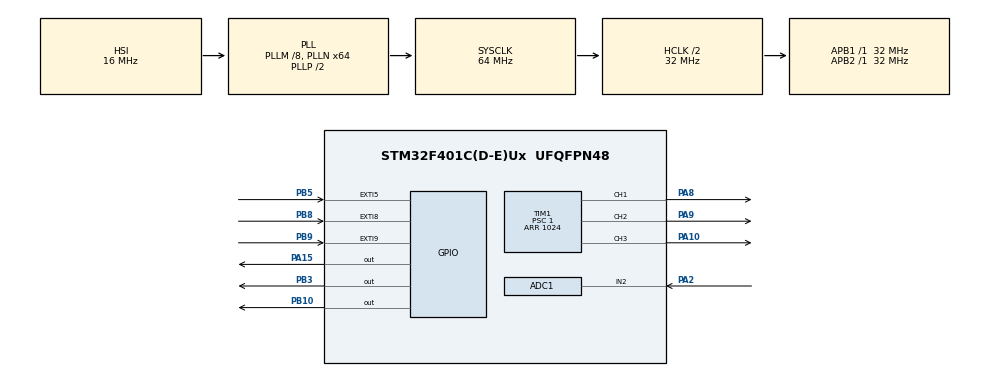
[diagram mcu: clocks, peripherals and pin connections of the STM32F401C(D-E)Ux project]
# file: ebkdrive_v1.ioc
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ADC1.Channel-6\#ChannelRegularConversion=ADC_CHANNEL_2
ADC1.ContinuousConvMode=ENABLE
ADC1.DMAContinuousRequests=ENABLE
ADC1.NbrOfConversionFlag=1
ADC1.Rank-6\#ChannelRegularConversion=1
ADC1.Resolution=ADC_RESOLUTION_12B
ADC1.SamplingTime-6\#ChannelRegularConversion=ADC_SAMPLETIME_480CYCLES
ADC1.master=1
Dma.ADC1.0.Direction=DMA_PERIPH_TO_MEMORY
Dma.ADC1.0.FIFOMode=DMA_FIFOMODE_DISABLE
Dma.ADC1.0.Instance=DMA2_Stream0
Dma.ADC1.0.MemDataAlignment=DMA_MDATAALIGN_HALFWORD
Dma.ADC1.0.MemInc=DMA_MINC_ENABLE
Dma.ADC1.0.Mode=DMA_CIRCULAR
Dma.ADC1.0.PeriphDataAlignment=DMA_PDATAALIGN_HALFWORD
Dma.ADC1.0.PeriphInc=DMA_PINC_DISABLE
Dma.ADC1.0.Priority=DMA_PRIORITY_LOW
Dma.Request0=ADC1
Mcu.Family=STM32F4
Mcu.Name=STM32F401C(D-E)Ux
Mcu.Package=UFQFPN48
NVIC.ADC_IRQn=true\:1\:0\:true\:false\:true\:true\:true\:true
NVIC.DMA2_Stream0_IRQn=true\:1\:0\:true\:false\:true\:true\:true\:true
NVIC.EXTI9_5_IRQn=true\:0\:0\:false\:false\:true\:true\:true\:true
NVIC.PriorityGroup=NVIC_PRIORITYGROUP_4
PA10.Signal=S_TIM1_CH3
PA13.Mode=Serial_Wire
PA13.Signal=SYS_JTMS-SWDIO
PA14.Mode=Serial_Wire
PA14.Signal=SYS_JTCK-SWCLK
PA15.Signal=GPIO_Output
PA2.Signal=ADCx_IN2
PA3.Signal=ADCx_IN3
PA8.Signal=S_TIM1_CH1
PA9.Signal=S_TIM1_CH2
PB10.Signal=GPIO_Output
PB3.Signal=GPIO_Output
PB5.GPIO_ModeDefaultEXTI=GPIO_MODE_IT_RISING_FALLING
PB5.Signal=GPXTI5
PB8.GPIO_ModeDefaultEXTI=GPIO_MODE_IT_RISING_FALLING
PB8.Signal=GPXTI8
PB9.GPIO_ModeDefaultEXTI=GPIO_MODE_IT_RISING_FALLING
PB9.Signal=GPXTI9
ProjectManager.HeapSize=0x200
ProjectManager.StackSize=0x400
ProjectManager.TargetToolchain=STM32CubeIDE
RCC.48MHZClocksFreq_Value=32000000
RCC.AHBCLKDivider=RCC_SYSCLK_DIV2
RCC.AHBFreq_Value=32000000
RCC.APB1Freq_Value=32000000
RCC.APB1TimFreq_Value=32000000
RCC.APB2Freq_Value=32000000
RCC.APB2TimFreq_Value=32000000
RCC.CortexFreq_Value=32000000
RCC.HCLKFreq_Value=32000000
RCC.HSE_VALUE=25000000
RCC.HSI_VALUE=16000000
RCC.LSE_VALUE=32768
RCC.PLLM=8
RCC.PLLN=64
RCC.SYSCLKFreq_VALUE=64000000
RCC.SYSCLKSource=RCC_SYSCLKSOURCE_PLLCLK
RCC.VCOOutputFreq_Value=128000000
SH.ADCx_IN2.0=ADC1_IN2,IN2
SH.ADCx_IN3.0=ADC1_IN3
SH.S_TIM1_CH1.0=TIM1_CH1,PWM Generation1 CH1
SH.S_TIM1_CH2.0=TIM1_CH2,PWM Generation2 CH2
SH.S_TIM1_CH3.0=TIM1_CH3,PWM Generation3 CH3
TIM1.AutoReloadPreload=TIM_AUTORELOAD_PRELOAD_DISABLE
TIM1.Channel-PWM\ Generation1\ CH1=TIM_CHANNEL_1
TIM1.Channel-PWM\ Generation2\ CH2=TIM_CHANNEL_2
TIM1.Channel-PWM\ Generation3\ CH3=TIM_CHANNEL_3
TIM1.Period=1024
TIM1.Prescaler=1
TIM1.TIM_MasterSlaveMode=TIM_MASTERSLAVEMODE_DISABLE
VP_TIM1_VS_ClockSourceINT.Mode=Internal
VP_TIM3_VS_ClockSourceINT.Mode=Internal
board=custom

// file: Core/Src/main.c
/* USER CODE BEGIN Header */
/**
  ******************************************************************************
  * @file           : main.c
  * @brief          : Main program body
  ******************************************************************************
  * @attention
  *
  * Copyright (c) 2024 STMicroelectronics.
  * All rights reserved.
  *
  * This software is licensed under terms that can be found in the LICENSE file
  * in the root directory of this software component.
  * If no LICENSE file comes with this software, it is provided AS-IS.
  *
  ******************************************************************************
  */
/* USER CODE END Header */
#include "main.h"

/* USER CODE BEGIN PD */
#define halla GPIO_PIN_8
#define hallb GPIO_PIN_9
#define hallc GPIO_PIN_5
/* USER CODE END PD */

ADC_HandleTypeDef hadc1;
DMA_HandleTypeDef hdma_adc1;

TIM_HandleTypeDef htim1;
TIM_HandleTypeDef htim3;

/* USER CODE BEGIN PV */
   uint8_t hallSensorState = 0b00000000;
   uint32_t buffer=0;
   uint32_t adc_val=0;
/* USER CODE END PV */

void SystemClock_Config(void);
static void MX_GPIO_Init(void);
static void MX_DMA_Init(void);
static void MX_TIM1_Init(void);
static void MX_TIM3_Init(void);
static void MX_ADC1_Init(void);

/* USER CODE BEGIN 0 */
void HAL_ADC_ConvCpltCallback(ADC_HandleTypeDef* hadc)
{
	if(buffer>50)
	{adc_val=buffer/4;}
    else
	adc_val=0;
}

void HAL_GPIO_EXTI_Callback(uint16_t GPIO_Pin)
{
	hallSensorState = 0;
    hallSensorState |= HAL_GPIO_ReadPin(GPIOB, GPIO_PIN_8) << 0;
    hallSensorState |= HAL_GPIO_ReadPin(GPIOB, GPIO_PIN_9) << 1;
    hallSensorState |= HAL_GPIO_ReadPin(GPIOB, GPIO_PIN_5) << 2;
}

void delay_us (uint16_t us)
{
	__HAL_TIM_SET_COUNTER(&htim3,0);  // set the counter value a 0
	while (__HAL_TIM_GET_COUNTER(&htim3) < us);  // wait for the counter to reach the us input in the parameter
}
/* USER CODE END 0 */

int main(void)
{

  /* MCU Configuration--------------------------------------------------------*/

  /* Reset of all peripherals, Initializes the Flash interface and the Systick. */
  HAL_Init();

  /* Configure the system clock */
  SystemClock_Config();

  /* Initialize all configured peripherals */
  MX_GPIO_Init();
  MX_DMA_Init();
  MX_TIM1_Init();
  MX_TIM3_Init();
  MX_ADC1_Init();
  /* USER CODE BEGIN 2 */

  HAL_TIM_PWM_Start(&htim1, TIM_CHANNEL_1);
  HAL_TIM_PWM_Start(&htim1, TIM_CHANNEL_2);
  HAL_TIM_PWM_Start(&htim1, TIM_CHANNEL_3);
HAL_TIM_Base_Start(&htim3);

  HAL_ADC_Start_DMA(&hadc1, &buffer, 1);
  /* USER CODE END 2 */

  /* Infinite loop */
  /* USER CODE BEGIN WHILE */
  while (1)
  {
   if(adc_val==0){
	                      __HAL_TIM_SET_COMPARE(&htim1, TIM_CHANNEL_1,0);
	   	  		    	  __HAL_TIM_SET_COMPARE(&htim1, TIM_CHANNEL_2,0);
	   	  	   	      	  __HAL_TIM_SET_COMPARE(&htim1, TIM_CHANNEL_3,0);
	   	  	   	  	  	  HAL_GPIO_WritePin(GPIOA, GPIO_PIN_15,1);
	   	  	   	  	  	  HAL_GPIO_WritePin(GPIOB, GPIO_PIN_3,1);
	   	  	   	  	      HAL_GPIO_WritePin(GPIOB, GPIO_PIN_10,1);
   }
	   switch (hallSensorState) {
	          case 0b00000001:
	        	  __HAL_TIM_SET_COMPARE(&htim1, TIM_CHANNEL_3,0);
	        	  delay_us(1);//deadtime
	              __HAL_TIM_SET_COMPARE(&htim1, TIM_CHANNEL_1,adc_val);
	              __HAL_TIM_SET_COMPARE(&htim1, TIM_CHANNEL_2,0);
	                HAL_GPIO_WritePin(GPIOA, GPIO_PIN_15,1);
	                HAL_GPIO_WritePin(GPIOB, GPIO_PIN_3,0);
	                HAL_GPIO_WritePin(GPIOB, GPIO_PIN_10,1);
	  	          break;
	  	      case 0b00000011:
	  	    	  __HAL_TIM_SET_COMPARE(&htim1, TIM_CHANNEL_1,adc_val);
	  	          __HAL_TIM_SET_COMPARE(&htim1, TIM_CHANNEL_2,0);
	  	          __HAL_TIM_SET_COMPARE(&htim1, TIM_CHANNEL_3,0);
	  	    		HAL_GPIO_WritePin(GPIOA, GPIO_PIN_15,1);
	  	    	    HAL_GPIO_WritePin(GPIOB, GPIO_PIN_3,1);
	  	    	  delay_us(1);//deadtime
	  	    		HAL_GPIO_WritePin(GPIOB, GPIO_PIN_10,0);
	  	          break;
	  	      case 0b00000010:
	  	    	  __HAL_TIM_SET_COMPARE(&htim1, TIM_CHANNEL_1,0);
	  	    	  delay_us(1);//deadtime
	  	    	  __HAL_TIM_SET_COMPARE(&htim1, TIM_CHANNEL_2,adc_val);
	  	          __HAL_TIM_SET_COMPARE(&htim1, TIM_CHANNEL_3,0);
	  	    	    HAL_GPIO_WritePin(GPIOA, GPIO_PIN_15,1);
	  	    	    HAL_GPIO_WritePin(GPIOB, GPIO_PIN_3,1);
	  	    	    HAL_GPIO_WritePin(GPIOB, GPIO_PIN_10,0);
	  	    	  break;
	  	      case 0b00000110:
	  	    	  __HAL_TIM_SET_COMPARE(&htim1, TIM_CHANNEL_1,0);
	  	    	  __HAL_TIM_SET_COMPARE(&htim1, TIM_CHANNEL_2,adc_val);
	  	          __HAL_TIM_SET_COMPARE(&htim1, TIM_CHANNEL_3,0);
	  	            HAL_GPIO_WritePin(GPIOB, GPIO_PIN_10,1);
	  	          delay_us(1);//deadtime
	  	    	    HAL_GPIO_WritePin(GPIOA, GPIO_PIN_15,0);
	  	    	    HAL_GPIO_WritePin(GPIOB, GPIO_PIN_3,1);

	  	      	  break;
	  	      case 0b00000100:
	  	    	  __HAL_TIM_SET_COMPARE(&htim1, TIM_CHANNEL_1,0);
	  	    	  __HAL_TIM_SET_COMPARE(&htim1, TIM_CHANNEL_2,0);
	  	    	  delay_us(1);//deadtime
	  	          __HAL_TIM_SET_COMPARE(&htim1, TIM_CHANNEL_3,adc_val);
	  	    	    HAL_GPIO_WritePin(GPIOA, GPIO_PIN_15,0);
	  	    	    HAL_GPIO_WritePin(GPIOB, GPIO_PIN_3,1);
	  	    	    HAL_GPIO_WritePin(GPIOB, GPIO_PIN_10,1);
	  	      	  break;
	  	      case 0b00000101:
	  	    	  __HAL_TIM_SET_COMPARE(&htim1, TIM_CHANNEL_1,0);
	  	    	  __HAL_TIM_SET_COMPARE(&htim1, TIM_CHANNEL_2,0);
	  	          __HAL_TIM_SET_COMPARE(&htim1, TIM_CHANNEL_3,adc_val);
	  	    	    HAL_GPIO_WritePin(GPIOA, GPIO_PIN_15,1);
	  	    	  delay_us(1);//deadtime
	  	    	    HAL_GPIO_WritePin(GPIOB, GPIO_PIN_3,0);
	  	    	    HAL_GPIO_WritePin(GPIOB, GPIO_PIN_10,1);
	  	      	  break;
	  	      case 0b00000000:
    	  	    	  __HAL_TIM_SET_COMPARE(&htim1, TIM_CHANNEL_1,0);
	  		    	  __HAL_TIM_SET_COMPARE(&htim1, TIM_CHANNEL_2,0);
	  	   	      	  __HAL_TIM_SET_COMPARE(&htim1, TIM_CHANNEL_3,0);
	  	   	  	  	  HAL_GPIO_WritePin(GPIOA, GPIO_PIN_15,1);
	  	   	  	  	  HAL_GPIO_WritePin(GPIOB, GPIO_PIN_3,1);
	  	   	  	      HAL_GPIO_WritePin(GPIOB, GPIO_PIN_10,1);
	  	   	  	    	  break;
	  	      case 0b11111111:
	   	  	    	  __HAL_TIM_SET_COMPARE(&htim1, TIM_CHANNEL_1,0);
	   	  	    	  __HAL_TIM_SET_COMPARE(&htim1, TIM_CHANNEL_2,0);
	   	  	    	  __HAL_TIM_SET_COMPARE(&htim1, TIM_CHANNEL_3,0);
	   	  	    	  HAL_GPIO_WritePin(GPIOA, GPIO_PIN_15,1);
	   	  	    	  HAL_GPIO_WritePin(GPIOB, GPIO_PIN_3,1);
	   	  	    	  HAL_GPIO_WritePin(GPIOB, GPIO_PIN_10,1);
	  	 	  	    	  break;
	  }
    /* USER CODE END WHILE */

  }
}

void SystemClock_Config(void)
{
  RCC_OscInitTypeDef RCC_OscInitStruct = {0};
  RCC_ClkInitTypeDef RCC_ClkInitStruct = {0};

  /** Configure the main internal regulator output voltage
  */
  __HAL_RCC_PWR_CLK_ENABLE();
  __HAL_PWR_VOLTAGESCALING_CONFIG(PWR_REGULATOR_VOLTAGE_SCALE2);

  /** Initializes the RCC Oscillators according to the specified parameters
  * in the RCC_OscInitTypeDef structure.
  */
  RCC_OscInitStruct.OscillatorType = RCC_OSCILLATORTYPE_HSI;
  RCC_OscInitStruct.HSIState = RCC_HSI_ON;
  RCC_OscInitStruct.HSICalibrationValue = RCC_HSICALIBRATION_DEFAULT;
  RCC_OscInitStruct.PLL.PLLState = RCC_PLL_ON;
  RCC_OscInitStruct.PLL.PLLSource = RCC_PLLSOURCE_HSI;
  RCC_OscInitStruct.PLL.PLLM = 8;
  RCC_OscInitStruct.PLL.PLLN = 64;
  RCC_OscInitStruct.PLL.PLLP = RCC_PLLP_DIV2;
  RCC_OscInitStruct.PLL.PLLQ = 4;
  if (HAL_RCC_OscConfig(&RCC_OscInitStruct) != HAL_OK)
  {
    Error_Handler();
  }

  /** Initializes the CPU, AHB and APB buses clocks
  */
  RCC_ClkInitStruct.ClockType = RCC_CLOCKTYPE_HCLK|RCC_CLOCKTYPE_SYSCLK
                              |RCC_CLOCKTYPE_PCLK1|RCC_CLOCKTYPE_PCLK2;
  RCC_ClkInitStruct.SYSCLKSource = RCC_SYSCLKSOURCE_PLLCLK;
  RCC_ClkInitStruct.AHBCLKDivider = RCC_SYSCLK_DIV2;
  RCC_ClkInitStruct.APB1CLKDivider = RCC_HCLK_DIV1;
  RCC_ClkInitStruct.APB2CLKDivider = RCC_HCLK_DIV1;

  if (HAL_RCC_ClockConfig(&RCC_ClkInitStruct, FLASH_LATENCY_1) != HAL_OK)
  {
    Error_Handler();
  }
}

static void MX_ADC1_Init(void)
{

  ADC_ChannelConfTypeDef sConfig = {0};

  /** Configure the global features of the ADC (Clock, Resolution, Data Alignment and number of conversion)
  */
  hadc1.Instance = ADC1;
  hadc1.Init.ClockPrescaler = ADC_CLOCK_SYNC_PCLK_DIV2;
  hadc1.Init.Resolution = ADC_RESOLUTION_12B;
  hadc1.Init.ScanConvMode = DISABLE;
  hadc1.Init.ContinuousConvMode = ENABLE;
  hadc1.Init.DiscontinuousConvMode = DISABLE;
  hadc1.Init.ExternalTrigConvEdge = ADC_EXTERNALTRIGCONVEDGE_NONE;
  hadc1.Init.ExternalTrigConv = ADC_SOFTWARE_START;
  hadc1.Init.DataAlign = ADC_DATAALIGN_RIGHT;
  hadc1.Init.NbrOfConversion = 1;
  hadc1.Init.DMAContinuousRequests = ENABLE;
  hadc1.Init.EOCSelection = ADC_EOC_SINGLE_CONV;
  if (HAL_ADC_Init(&hadc1) != HAL_OK)
  {
    Error_Handler();
  }

  /** Configure for the selected ADC regular channel its corresponding rank in the sequencer and its sample time.
  */
  sConfig.Channel = ADC_CHANNEL_2;
  sConfig.Rank = 1;
  sConfig.SamplingTime = ADC_SAMPLETIME_480CYCLES;
  if (HAL_ADC_ConfigChannel(&hadc1, &sConfig) != HAL_OK)
  {
    Error_Handler();
  }

}

static void MX_TIM1_Init(void)
{

  TIM_ClockConfigTypeDef sClockSourceConfig = {0};
  TIM_MasterConfigTypeDef sMasterConfig = {0};
  TIM_OC_InitTypeDef sConfigOC = {0};
  TIM_BreakDeadTimeConfigTypeDef sBreakDeadTimeConfig = {0};

  htim1.Instance = TIM1;
  htim1.Init.Prescaler = 1;
  htim1.Init.CounterMode = TIM_COUNTERMODE_UP;
  htim1.Init.Period = 1024;
  htim1.Init.ClockDivision = TIM_CLOCKDIVISION_DIV1;
  htim1.Init.RepetitionCounter = 0;
  htim1.Init.AutoReloadPreload = TIM_AUTORELOAD_PRELOAD_DISABLE;
  if (HAL_TIM_Base_Init(&htim1) != HAL_OK)
  {
    Error_Handler();
  }
  sClockSourceConfig.ClockSource = TIM_CLOCKSOURCE_INTERNAL;
  if (HAL_TIM_ConfigClockSource(&htim1, &sClockSourceConfig) != HAL_OK)
  {
    Error_Handler();
  }
  if (HAL_TIM_PWM_Init(&htim1) != HAL_OK)
  {
    Error_Handler();
  }
  sMasterConfig.MasterOutputTrigger = TIM_TRGO_RESET;
  sMasterConfig.MasterSlaveMode = TIM_MASTERSLAVEMODE_DISABLE;
  if (HAL_TIMEx_MasterConfigSynchronization(&htim1, &sMasterConfig) != HAL_OK)
  {
    Error_Handler();
  }
  sConfigOC.OCMode = TIM_OCMODE_PWM1;
  sConfigOC.Pulse = 0;
  sConfigOC.OCPolarity = TIM_OCPOLARITY_HIGH;
  sConfigOC.OCNPolarity = TIM_OCNPOLARITY_HIGH;
  sConfigOC.OCFastMode = TIM_OCFAST_DISABLE;
  sConfigOC.OCIdleState = TIM_OCIDLESTATE_RESET;
  sConfigOC.OCNIdleState = TIM_OCNIDLESTATE_RESET;
  if (HAL_TIM_PWM_ConfigChannel(&htim1, &sConfigOC, TIM_CHANNEL_1) != HAL_OK)
  {
    Error_Handler();
  }
  if (HAL_TIM_PWM_ConfigChannel(&htim1, &sConfigOC, TIM_CHANNEL_2) != HAL_OK)
  {
    Error_Handler();
  }
  if (HAL_TIM_PWM_ConfigChannel(&htim1, &sConfigOC, TIM_CHANNEL_3) != HAL_OK)
  {
    Error_Handler();
  }
  sBreakDeadTimeConfig.OffStateRunMode = TIM_OSSR_DISABLE;
  sBreakDeadTimeConfig.OffStateIDLEMode = TIM_OSSI_DISABLE;
  sBreakDeadTimeConfig.LockLevel = TIM_LOCKLEVEL_OFF;
  sBreakDeadTimeConfig.DeadTime = 0;
  sBreakDeadTimeConfig.BreakState = TIM_BREAK_DISABLE;
  sBreakDeadTimeConfig.BreakPolarity = TIM_BREAKPOLARITY_HIGH;
  sBreakDeadTimeConfig.AutomaticOutput = TIM_AUTOMATICOUTPUT_DISABLE;
  if (HAL_TIMEx_ConfigBreakDeadTime(&htim1, &sBreakDeadTimeConfig) != HAL_OK)
  {
    Error_Handler();
  }
  HAL_TIM_MspPostInit(&htim1);

}

static void MX_TIM3_Init(void)
{

  TIM_ClockConfigTypeDef sClockSourceConfig = {0};
  TIM_MasterConfigTypeDef sMasterConfig = {0};

  htim3.Instance = TIM3;
  htim3.Init.Prescaler = 0;
  htim3.Init.CounterMode = TIM_COUNTERMODE_UP;
  htim3.Init.Period = 65535;
  htim3.Init.ClockDivision = TIM_CLOCKDIVISION_DIV1;
  htim3.Init.AutoReloadPreload = TIM_AUTORELOAD_PRELOAD_DISABLE;
  if (HAL_TIM_Base_Init(&htim3) != HAL_OK)
  {
    Error_Handler();
  }
  sClockSourceConfig.ClockSource = TIM_CLOCKSOURCE_INTERNAL;
  if (HAL_TIM_ConfigClockSource(&htim3, &sClockSourceConfig) != HAL_OK)
  {
    Error_Handler();
  }
  sMasterConfig.MasterOutputTrigger = TIM_TRGO_RESET;
  sMasterConfig.MasterSlaveMode = TIM_MASTERSLAVEMODE_DISABLE;
  if (HAL_TIMEx_MasterConfigSynchronization(&htim3, &sMasterConfig) != HAL_OK)
  {
    Error_Handler();
  }

}

static void MX_DMA_Init(void)
{

  /* DMA controller clock enable */
  __HAL_RCC_DMA2_CLK_ENABLE();

  /* DMA interrupt init */
  /* DMA2_Stream0_IRQn interrupt configuration */
  HAL_NVIC_SetPriority(DMA2_Stream0_IRQn, 1, 0);
  HAL_NVIC_EnableIRQ(DMA2_Stream0_IRQn);

}

static void MX_GPIO_Init(void)
{
  GPIO_InitTypeDef GPIO_InitStruct = {0};

  /* GPIO Ports Clock Enable */
  __HAL_RCC_GPIOA_CLK_ENABLE();
  __HAL_RCC_GPIOB_CLK_ENABLE();

  /*Configure GPIO pin Output Level */
  HAL_GPIO_WritePin(GPIOB, GPIO_PIN_10|GPIO_PIN_3, GPIO_PIN_RESET);

  /*Configure GPIO pin Output Level */
  HAL_GPIO_WritePin(GPIOA, GPIO_PIN_15, GPIO_PIN_RESET);

  /*Configure GPIO pins : PB10 PB3 */
  GPIO_InitStruct.Pin = GPIO_PIN_10|GPIO_PIN_3;
  GPIO_InitStruct.Mode = GPIO_MODE_OUTPUT_PP;
  GPIO_InitStruct.Pull = GPIO_NOPULL;
  GPIO_InitStruct.Speed = GPIO_SPEED_FREQ_LOW;
  HAL_GPIO_Init(GPIOB, &GPIO_InitStruct);

  /*Configure GPIO pin : PA15 */
  GPIO_InitStruct.Pin = GPIO_PIN_15;
  GPIO_InitStruct.Mode = GPIO_MODE_OUTPUT_PP;
  GPIO_InitStruct.Pull = GPIO_NOPULL;
  GPIO_InitStruct.Speed = GPIO_SPEED_FREQ_LOW;
  HAL_GPIO_Init(GPIOA, &GPIO_InitStruct);

  /*Configure GPIO pins : PB5 PB8 PB9 */
  GPIO_InitStruct.Pin = GPIO_PIN_5|GPIO_PIN_8|GPIO_PIN_9;
  GPIO_InitStruct.Mode = GPIO_MODE_IT_RISING_FALLING;
  GPIO_InitStruct.Pull = GPIO_NOPULL;
  HAL_GPIO_Init(GPIOB, &GPIO_InitStruct);

  /* EXTI interrupt init*/
  HAL_NVIC_SetPriority(EXTI9_5_IRQn, 0, 0);
  HAL_NVIC_EnableIRQ(EXTI9_5_IRQn);

}

void Error_Handler(void)
{
  __disable_irq();
  while (1)
  {
  }
}
